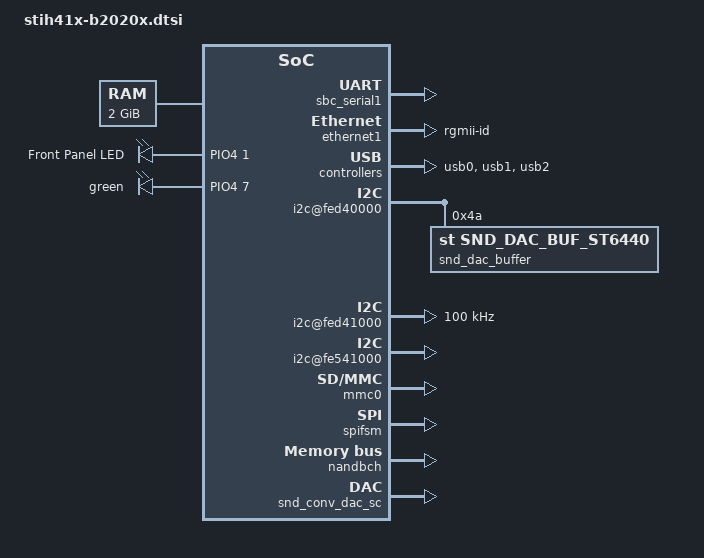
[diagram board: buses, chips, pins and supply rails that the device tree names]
/*
 * Copyright (C) 2013 STMicroelectronics (R&D) Limited.
 * Author: Patrice Chotard <patrice.chotard@st.com>
 *
 * This program is free software; you can redistribute it and/or modify
 * it under the terms of the GNU General Public License version 2 as
 * publishhed by the Free Software Foundation.
 */
/ {
	memory{
		device_type = "memory";
		reg = <0x40000000 0x80000000>;
	};

	chosen {
		bootargs = "console=ttyAS0,115200";
		linux,stdout-path = &sbc_serial1;
	};

	aliases {
		usb0 = &usb0;
		usb1 = &usb1;
		usb2 = &usb2;
	};

	soc {
		sbc_serial1: serial@fe531000 {
			status = "okay";
		};

		leds {
			compatible = "gpio-leds";
			red {
				#gpio-cells = <1>;
				label = "Front Panel LED";
				gpios = <&PIO4 1>;
				linux,default-trigger = "heartbeat";
			};
			green {
				gpios = <&PIO4 7>;
				default-state = "off";
			};
		};

		ethernet1: dwmac@fef08000 {
			status = "okay";
			phy-mode = "rgmii-id";
			snps,reset-active-low;
			snps,reset-delays-us = <0 10000 10000>;
			pinctrl-0 = <&pinctrl_rgmii1>;
		};

		usb0: usb@fe100000 {
			status = "okay";
		};

		usb1: usb@fe200000 {
			status = "okay";
		};

		usb2: usb@fe300000 {
			status = "okay";
		};

		i2c@fed40000 {
			status = "okay";
		};

		/* HDMI Tx I2C */
		i2c@fed41000 {
			/* HDMI V1.3a supports Standard mode only */
			clock-frequency = <100000>;
			st,i2c-min-scl-pulse-width-us = <0>;
			st,i2c-min-sda-pulse-width-us = <5>;

			status = "okay";
		};

		i2c@fe541000 {
			status = "okay";
		};

		mmc0: sdhci@fe81e000 {
			status = "okay";
		};

		/* audio dac buffer */
		i2c@fed40000 {
			status = "okay";
			#address-cells = <1>;
			#size-cells = <0>;

			snd_dac_buffer@4a {
				compatible = "st,snd_dac_buf_st6440";
				reg = <0x4a>;
				st,source-bus-id = <&snd_uni_player2>;
				st,buffer-gain = <5>;
			};
		};

		/* FSM */
		spifsm:	spifsm@fe902000 {
			status = "okay";
			partitions = <&b2020x_fsm_partitions>;

			b2020x_fsm_partitions: partitions-b2020x {
				#address-cells = <1>;
				#size-cells = <1>;
				partition@0 {
					label = "boot";
					reg = <0x00000000 0x00500000>;
				};
				partition@500000 {
					label = "rest";
					reg = <0x00500000 0x00b00000>;
				};
			};
		};

		nandbch: nand-bch {
			status = "okay";
			st,nand-banks = <&nand_banks>;
		};

		nand_banks: nand-banks {
			/*
			 * Micron MT29F8G08ABABAWP:
			 *  - Size = 8Gib(1GiB); Page = 4096+224; Block = 512KiB
			 *  - ECC = 4-bit/540B min
			 *  - ONFI 2.1 (timing parameters retrieved during probe)
			 */
			bank0 {
				nand-on-flash-bbt;
				nand-no-autoincr;
				st,nand-csn = <0>;
				st,nand-timing-relax = <0>;
				partitions {
					#address-cells = <1>;
			                #size-cells = <1>;
					partition@0 {
						label = "NAND Flash 1";
						reg = <0x00000000 0x00800000>;
					};
					partition@800000 {
						label = "NAND Flash 2";
						reg = <0x00800000 0x3f800000>;
					};
				};
			};
		};

		/* Uniperipheral */
		snd_uni_player0: snd-uni-player@0xfe002000 {
			status = "okay";
		};

		snd_uni_player1: snd-uni-player@0xfe003000 {
			status = "okay";
		};

		snd_uni_player2: snd-uni-player@0xfe004000 {
			status = "okay";
		};

		snd_uni_player3: snd-uni-player@0xfe006000 {
			status = "okay";
		};

		snd_uni_reader0: snd-uni-reader@0xfe005000 {
			status = "disabled";
		};

		snd_uni_reader1: snd-uni-reader@0xfe007000 {
			status = "disabled";
		};

		snd_conv_dac_sc: snd-conv-dac-sc {
			status = "okay";
		};

		snd_conv_biphase: snd-conv-biphase {
			status = "okay";
		};
	};
};
